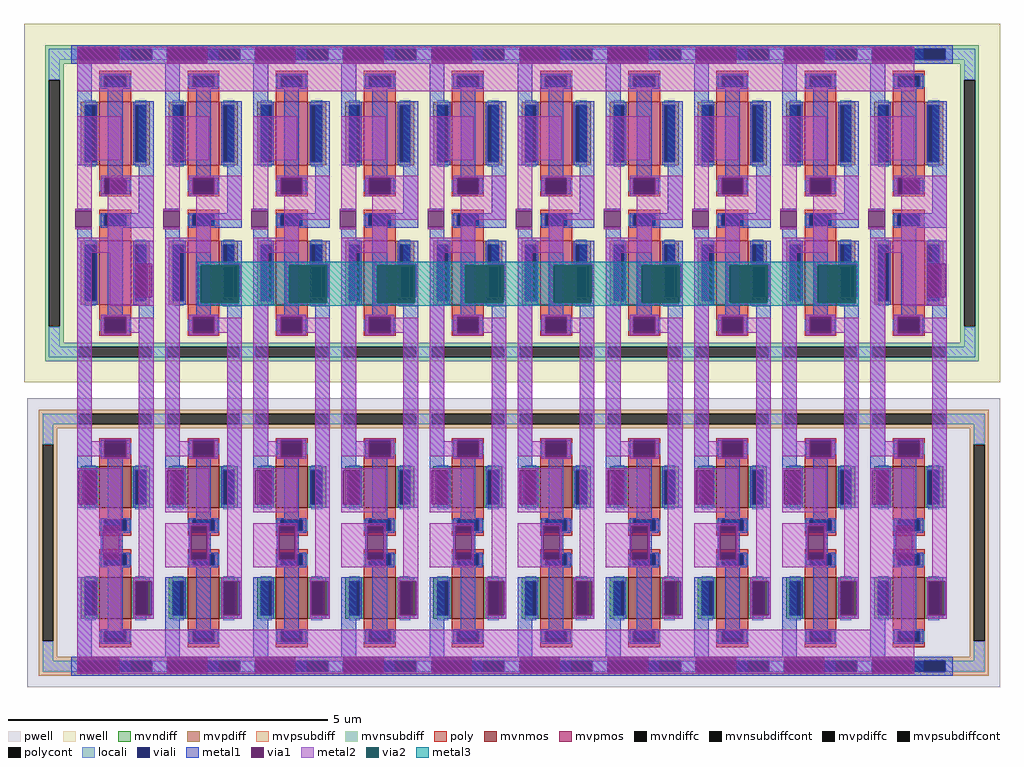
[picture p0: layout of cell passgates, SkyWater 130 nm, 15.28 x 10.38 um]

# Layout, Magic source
magic
tech sky130A
magscale 1 2
<< metal2 >>
rect 166 1866 2788 2004
rect 268 1193 406 1601
rect 2752 1193 2890 1601
rect 166 180 304 685
rect 452 557 570 675
rect 728 557 846 675
rect 1004 557 1122 675
rect 1280 557 1398 675
rect 1556 557 1674 675
rect 1832 557 1950 675
rect 2108 557 2226 675
rect 2384 557 2502 675
rect 2650 180 2788 685
rect 166 42 2788 180
<< via2 >>
rect 554 1203 672 1321
rect 830 1203 948 1321
rect 1106 1203 1224 1321
rect 1382 1203 1500 1321
rect 1658 1203 1776 1321
rect 1934 1203 2052 1321
rect 2210 1203 2328 1321
rect 2486 1203 2604 1321
<< metal3 >>
rect 544 1321 2614 1331
rect 544 1203 554 1321
rect 672 1203 830 1321
rect 948 1203 1106 1321
rect 1224 1203 1382 1321
rect 1500 1203 1658 1321
rect 1776 1203 1934 1321
rect 2052 1203 2210 1321
rect 2328 1203 2486 1321
rect 2604 1203 2614 1321
rect 544 1193 2614 1203
rect 622 1192 682 1193
rect 898 1192 958 1193
rect 1174 1192 1234 1193
rect 1450 1192 1510 1193
rect 1726 1192 1786 1193
rect 2002 1192 2062 1193
rect 2278 1192 2338 1193
rect 2554 1192 2614 1193
use transistor_quartet_bus10  transistor_quartet_bus10_0
transform 1 0 0 0 1 0
box 0 0 3056 2076
use passgate  x1
transform 1 0 324 0 1 0
box 112 42 358 2004
use passgate  x2
transform 1 0 600 0 1 0
box 112 42 358 2004
use passgate  x3
transform 1 0 876 0 1 0
box 112 42 358 2004
use passgate  x4
transform 1 0 1152 0 1 0
box 112 42 358 2004
use passgate  x5
transform 1 0 1428 0 1 0
box 112 42 358 2004
use passgate  x6
transform 1 0 1704 0 1 0
box 112 42 358 2004
use passgate  x7
transform 1 0 1980 0 1 0
box 112 42 358 2004
use passgate  x8
transform 1 0 2256 0 1 0
box 112 42 358 2004
use passgate  xdummy1
transform 1 0 48 0 1 0
box 112 42 358 2004
use passgate  xdummy2
transform 1 0 2532 0 1 0
box 112 42 358 2004
<< end >>

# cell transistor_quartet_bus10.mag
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
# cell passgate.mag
magic
tech sky130A
magscale 1 2
<< metal1 >>
rect 118 1952 124 2004
rect 250 1958 284 2004
rect 250 1952 256 1958
rect 118 1633 164 1952
rect 215 1595 261 1900
rect 192 1543 204 1595
rect 272 1543 284 1595
rect 112 1492 164 1498
rect 312 1484 358 1834
rect 112 1434 164 1440
rect 118 685 164 1434
rect 215 1438 358 1484
rect 215 1165 261 1438
rect 312 1332 358 1398
rect 294 1326 358 1332
rect 294 1220 300 1326
rect 352 1220 358 1326
rect 294 1214 358 1220
rect 300 1209 358 1214
rect 192 1159 284 1165
rect 192 1107 204 1159
rect 272 1107 284 1159
rect 192 1101 284 1107
rect 192 720 204 772
rect 272 720 284 772
rect 118 679 182 685
rect 118 573 124 679
rect 176 573 182 679
rect 118 567 182 573
rect 118 561 164 567
rect 215 511 261 720
rect 312 561 358 1209
rect 192 505 261 511
rect 192 399 198 505
rect 250 399 261 505
rect 192 393 261 399
rect 118 94 164 343
rect 215 155 261 393
rect 312 337 358 343
rect 294 331 358 337
rect 294 225 300 331
rect 352 225 358 331
rect 294 219 358 225
rect 312 213 358 219
rect 118 42 124 94
rect 250 88 256 94
rect 250 42 284 88
<< via1 >>
rect 124 1952 250 2004
rect 204 1543 272 1595
rect 112 1440 164 1492
rect 300 1220 352 1326
rect 204 1107 272 1159
rect 204 720 272 772
rect 124 573 176 679
rect 198 399 250 505
rect 300 225 352 331
rect 124 42 250 94
<< metal2 >>
rect 118 1952 124 2004
rect 250 1952 256 2004
rect 118 1866 256 1952
rect 118 1649 256 1787
rect 118 1498 164 1649
rect 192 1595 358 1601
rect 192 1543 204 1595
rect 272 1543 358 1595
rect 192 1537 358 1543
rect 112 1492 164 1498
rect 112 1434 164 1440
rect 215 1463 358 1537
rect 215 1406 261 1463
rect 118 1360 261 1406
rect 118 769 164 1360
rect 220 1326 358 1332
rect 220 1220 300 1326
rect 352 1220 358 1326
rect 220 1193 358 1220
rect 192 1159 284 1165
rect 192 1107 204 1159
rect 272 1156 284 1159
rect 272 1110 358 1156
rect 272 1107 284 1110
rect 192 1101 284 1107
rect 192 772 284 778
rect 192 769 204 772
rect 118 723 204 769
rect 192 720 204 723
rect 272 720 284 772
rect 192 714 284 720
rect 118 679 256 685
rect 118 573 124 679
rect 176 573 256 679
rect 118 547 256 573
rect 118 505 256 513
rect 118 399 198 505
rect 250 399 256 505
rect 118 375 256 399
rect 312 343 358 1110
rect 294 331 358 343
rect 294 225 300 331
rect 352 225 358 331
rect 294 213 358 225
rect 118 94 256 180
rect 118 42 124 94
rect 250 42 256 94
<< labels >>
flabel metal2 118 375 256 513 0 FreeSans 256 0 0 0 EN
port 0 nsew
flabel metal2 118 547 256 685 0 FreeSans 256 0 0 0 UA
port 1 nsew
flabel metal2 220 1193 358 1331 0 FreeSans 256 0 0 0 UB
port 2 nsew
flabel metal2 118 1866 256 2004 0 FreeSans 256 0 0 0 VDD
port 3 nsew
flabel metal2 118 42 256 180 0 FreeSans 256 0 0 0 VSS
port 4 nsew
<< end >>
